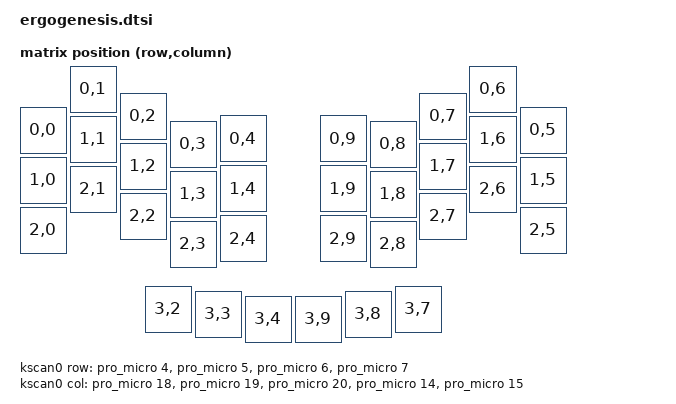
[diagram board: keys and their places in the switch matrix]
/*
https://github.com/zmkfirmware/zmk/blob/main/app/boards/shields/cradio/cradio.dtsi
https://github.com/auryn31/avocado/blob/main/config/boards/shields/avocado/avocado.dtsi
*/

/*
 * Copyright (c) 2020 The ZMK Contributors
 *
 * SPDX-License-Identifier: MIT
 */

#include <dt-bindings/zmk/matrix_transform.h>
#include <physical_layouts.dtsi>

// nRF52840 + Adafruit UF2 bootloader: wire up the retention "boot mode" so the
// `&bootloader` behavior can reboot into the UF2 bootloader. On Zephyr >=3.6 the
// old CONFIG_NRF_STORE_REBOOT_TYPE_GPREGRET mechanism was removed, so bootloader
// entry now goes through the retention boot-mode subsystem + magic-value mapper
// (writes 0x57 to GPREGRET). This dtsi ships with ZMK and defines the gpregret
// retention area, the zmk,bootmode-to-magic-mapper node, and the chosen nodes.
// Requires CONFIG_RETAINED_MEM/RETENTION/RETENTION_BOOT_MODE (see ergogenesis.conf).
#include <common/nordic/nrf52840_uf2_boot_mode.dtsi>

/ {
    chosen {
        zmk,kscan = &kscan0;
        zmk,physical-layout = &physical_layout0;
        zmk,battery = &vbatt;
    };

    // Each half is a 5-column x 4-row matrix. The three thumb keys occupy
    // columns 2-4 of row 3. The right half applies col-offset = <5> and this
    // transform reverses its columns to preserve the mirrored keymap order.
    default_transform: keymap_transform_0 {
        compatible = "zmk,matrix-transform";
        columns = <10>;
        rows = <4>;
        map = <
        RC(0,0) RC(0,1) RC(0,2) RC(0,3) RC(0,4)   RC(0,9) RC(0,8) RC(0,7) RC(0,6) RC(0,5)
        RC(1,0) RC(1,1) RC(1,2) RC(1,3) RC(1,4)   RC(1,9) RC(1,8) RC(1,7) RC(1,6) RC(1,5)
        RC(2,0) RC(2,1) RC(2,2) RC(2,3) RC(2,4)   RC(2,9) RC(2,8) RC(2,7) RC(2,6) RC(2,5)
                        RC(3,2) RC(3,3) RC(3,4)   RC(3,9) RC(3,8) RC(3,7)
        >;
    };

    // Custom 36-key physical layout (this is a 3+3-thumb board, so the built-in
    // 34-key cuddlykeyboards ferris layout does NOT match). Required for ZMK
    // Studio, which maps firing positions to physical keys via this node.
    //
    // key_physical_attrs: width height x y rotation rot-origin-x rot-origin-y
    // Units are 1/100 of a key. Entry order matches the keymap position order
    // in 36.h: top / home / bottom rows (L pinky->inner, R inner->pinky), then
    // left thumbs (LH2 LH1 LH0), then right thumbs (RH0 RH1 RH2). x/y are
    // approximated from the column stagger in hardware/ergogen/config.yaml
    // (pinky 0, ring +14mm, middle +4.76mm, index -4.76mm, inner -2.86mm,
    // ky=17mm) shifted positive; refine for a pixel-accurate Studio view.
    physical_layout0: physical_layout_0 {
        compatible = "zmk,physical-layout";
        display-name = "Ergogenesis";
        transform = <&default_transform>;
        kscan = <&kscan0>;

        keys  //                     w    h    x    y   rot  rx  ry
            = <&key_physical_attrs 100 100    0   82     0   0   0>
            , <&key_physical_attrs 100 100  100    0     0   0   0>
            , <&key_physical_attrs 100 100  200   54     0   0   0>
            , <&key_physical_attrs 100 100  300  110     0   0   0>
            , <&key_physical_attrs 100 100  400   99     0   0   0>
            , <&key_physical_attrs 100 100  600   99     0   0   0>
            , <&key_physical_attrs 100 100  700  110     0   0   0>
            , <&key_physical_attrs 100 100  800   54     0   0   0>
            , <&key_physical_attrs 100 100  900    0     0   0   0>
            , <&key_physical_attrs 100 100 1000   82     0   0   0>
            , <&key_physical_attrs 100 100    0  182     0   0   0>
            , <&key_physical_attrs 100 100  100  100     0   0   0>
            , <&key_physical_attrs 100 100  200  154     0   0   0>
            , <&key_physical_attrs 100 100  300  210     0   0   0>
            , <&key_physical_attrs 100 100  400  199     0   0   0>
            , <&key_physical_attrs 100 100  600  199     0   0   0>
            , <&key_physical_attrs 100 100  700  210     0   0   0>
            , <&key_physical_attrs 100 100  800  154     0   0   0>
            , <&key_physical_attrs 100 100  900  100     0   0   0>
            , <&key_physical_attrs 100 100 1000  182     0   0   0>
            , <&key_physical_attrs 100 100    0  282     0   0   0>
            , <&key_physical_attrs 100 100  100  200     0   0   0>
            , <&key_physical_attrs 100 100  200  254     0   0   0>
            , <&key_physical_attrs 100 100  300  310     0   0   0>
            , <&key_physical_attrs 100 100  400  299     0   0   0>
            , <&key_physical_attrs 100 100  600  299     0   0   0>
            , <&key_physical_attrs 100 100  700  310     0   0   0>
            , <&key_physical_attrs 100 100  800  254     0   0   0>
            , <&key_physical_attrs 100 100  900  200     0   0   0>
            , <&key_physical_attrs 100 100 1000  282     0   0   0>
            , <&key_physical_attrs 100 100  250  440     0   0   0>
            , <&key_physical_attrs 100 100  350  450     0   0   0>
            , <&key_physical_attrs 100 100  450  460     0   0   0>
            , <&key_physical_attrs 100 100  550  460     0   0   0>
            , <&key_physical_attrs 100 100  650  450     0   0   0>
            , <&key_physical_attrs 100 100  750  440     0   0   0>
            ;
    };

    kscan0: kscan {
        compatible = "zmk,kscan-gpio-matrix";
        wakeup-source;

        // Hardware path: column -> switch -> diode anode/cathode -> row.
        diode-direction = "col2row";

        // Rows are inputs for col2row scanning.
        row-gpios
            = <&pro_micro 4 (GPIO_ACTIVE_HIGH | GPIO_PULL_DOWN)> // row0: top
            , <&pro_micro 5 (GPIO_ACTIVE_HIGH | GPIO_PULL_DOWN)> // row1: home
            , <&pro_micro 6 (GPIO_ACTIVE_HIGH | GPIO_PULL_DOWN)> // row2: bottom
            , <&pro_micro 7 (GPIO_ACTIVE_HIGH | GPIO_PULL_DOWN)> // row3: thumbs
            ;

        // Columns are outputs, ordered pinky through inner.
        col-gpios
            = <&pro_micro 18 GPIO_ACTIVE_HIGH> // col0: pinky
            , <&pro_micro 19 GPIO_ACTIVE_HIGH> // col1: ring
            , <&pro_micro 20 GPIO_ACTIVE_HIGH> // col2: middle / near thumb
            , <&pro_micro 14 GPIO_ACTIVE_HIGH> // col3: index / home thumb
            , <&pro_micro 15 GPIO_ACTIVE_HIGH> // col4: inner / far thumb
            ;
    };

    // The SuperMini's onboard 1:1 battery divider uses AIN7 / P0.31, exposed
    // as Pro Micro D21. The diode matrix leaves D21 dedicated to this sensor.
    // Clone resistor values vary; calibrate these values against a multimeter.
    vbatt: vbatt {
        compatible = "zmk,battery-voltage-divider";
        io-channels = <&adc 7>;
        output-ohms = <1000000>;
        full-ohms = <2000000>;
    };
};
